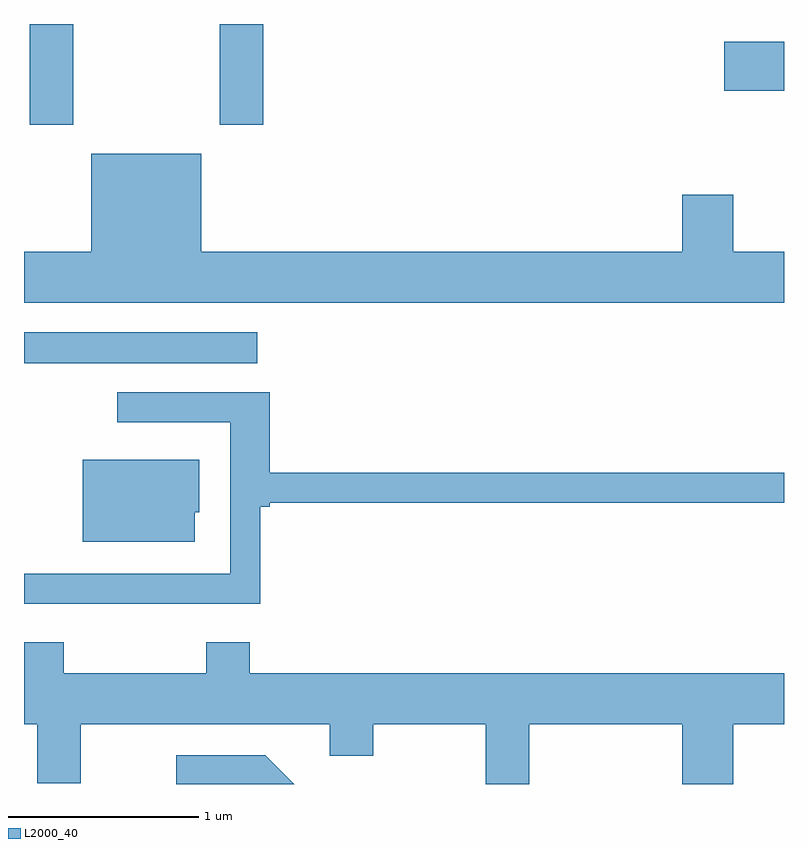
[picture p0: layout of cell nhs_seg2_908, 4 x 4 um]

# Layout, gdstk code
import gdstk
lib = gdstk.Library(unit=1e-6, precision=1e-09)
def R(c, l, rs):  # rectangles x0, y0, x1, y1
    for r in rs: c.add(gdstk.rectangle(r[:2], r[2:], *l))
def P(c, l, *ps):  # polygons
    for p in ps: c.add(gdstk.Polygon(p, *l))
L2000_40 = (2000, 40)

nhs_seg2_908 = lib.new_cell('nhs_seg2_908')
R(nhs_seg2_908, L2000_40, [(211.611,1028.016,212.838,1028.179), (211.641,1029.271,211.869,1029.802), (212.641,1029.271,212.869,1029.802), (215.296,1029.451,215.611,1029.709)])
P(nhs_seg2_908, L2000_40, [(215.611,1028.604),(215.344,1028.604),(215.344,1028.904),(215.076,1028.904),(215.076,1028.604),(212.544,1028.604),(212.544,1029.119),(211.966,1029.119),(211.966,1028.604),(211.611,1028.604),(211.611,1028.336),(215.611,1028.336)],
  [(212.854,1027.261),(212.904,1027.261),(212.904,1027.281),(215.611,1027.281),(215.611,1027.439),(212.904,1027.439),(212.904,1027.864),(212.103,1027.864),(212.103,1027.706),(212.696,1027.706),(212.696,1026.909),(211.611,1026.909),(211.611,1026.751),(212.854,1026.751)],
  [(212.509,1027.231),(212.534,1027.231),(212.534,1027.509),(211.921,1027.509),(211.921,1027.076),(212.509,1027.076)],
  [(214.269,1026.116),(215.076,1026.116),(215.076,1025.802),(215.344,1025.802),(215.344,1026.116),(215.611,1026.116),(215.611,1026.384),(212.799,1026.384),(212.799,1026.549),(212.571,1026.549),(212.571,1026.384),(211.819,1026.384),(211.819,1026.549),(211.611,1026.549),(211.611,1026.116),(211.681,1026.116),(211.681,1025.806),(211.909,1025.806),(211.909,1026.116),(213.221,1026.116),(213.221,1025.951),(213.449,1025.951),(213.449,1026.116),(214.041,1026.116),(214.041,1025.802),(214.269,1025.802)],
  [(212.882,1025.954),(212.413,1025.954),(212.413,1025.802),(213.034,1025.802)])

lib.write_gds('nhs_seg2_908.gds')
